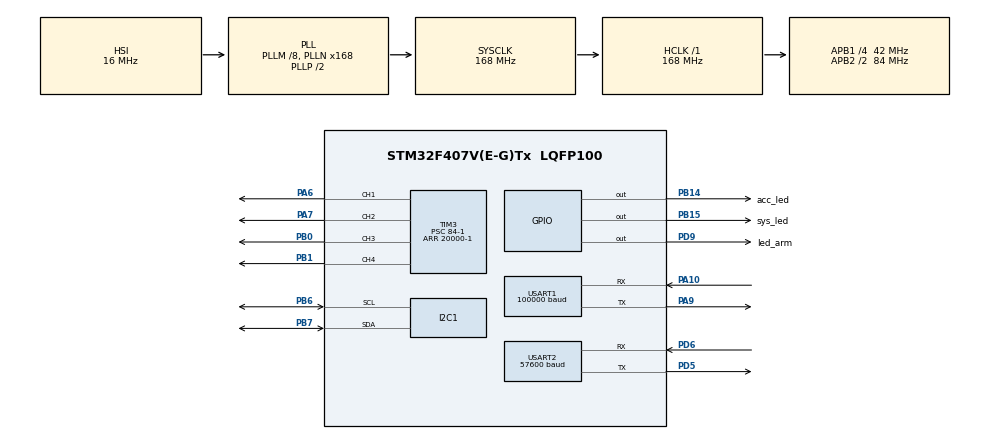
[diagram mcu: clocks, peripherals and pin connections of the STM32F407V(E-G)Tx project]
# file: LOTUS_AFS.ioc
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Dma.I2C1_RX.2.Direction=DMA_PERIPH_TO_MEMORY
Dma.I2C1_RX.2.FIFOMode=DMA_FIFOMODE_DISABLE
Dma.I2C1_RX.2.Instance=DMA1_Stream0
Dma.I2C1_RX.2.MemDataAlignment=DMA_MDATAALIGN_BYTE
Dma.I2C1_RX.2.MemInc=DMA_MINC_ENABLE
Dma.I2C1_RX.2.Mode=DMA_NORMAL
Dma.I2C1_RX.2.PeriphDataAlignment=DMA_PDATAALIGN_BYTE
Dma.I2C1_RX.2.PeriphInc=DMA_PINC_DISABLE
Dma.I2C1_RX.2.Priority=DMA_PRIORITY_VERY_HIGH
Dma.Request0=USART1_RX
Dma.Request1=USART2_RX
Dma.Request2=I2C1_RX
Dma.USART1_RX.0.Direction=DMA_PERIPH_TO_MEMORY
Dma.USART1_RX.0.FIFOMode=DMA_FIFOMODE_DISABLE
Dma.USART1_RX.0.Instance=DMA2_Stream2
Dma.USART1_RX.0.MemDataAlignment=DMA_MDATAALIGN_BYTE
Dma.USART1_RX.0.MemInc=DMA_MINC_ENABLE
Dma.USART1_RX.0.Mode=DMA_NORMAL
Dma.USART1_RX.0.PeriphDataAlignment=DMA_PDATAALIGN_BYTE
Dma.USART1_RX.0.PeriphInc=DMA_PINC_DISABLE
Dma.USART1_RX.0.Priority=DMA_PRIORITY_HIGH
Dma.USART2_RX.1.Direction=DMA_PERIPH_TO_MEMORY
Dma.USART2_RX.1.FIFOMode=DMA_FIFOMODE_DISABLE
Dma.USART2_RX.1.Instance=DMA1_Stream5
Dma.USART2_RX.1.MemDataAlignment=DMA_MDATAALIGN_BYTE
Dma.USART2_RX.1.MemInc=DMA_MINC_ENABLE
Dma.USART2_RX.1.Mode=DMA_CIRCULAR
Dma.USART2_RX.1.PeriphDataAlignment=DMA_PDATAALIGN_BYTE
Dma.USART2_RX.1.PeriphInc=DMA_PINC_DISABLE
Dma.USART2_RX.1.Priority=DMA_PRIORITY_HIGH
Mcu.Family=STM32F4
Mcu.Name=STM32F407V(E-G)Tx
Mcu.Package=LQFP100
NVIC.DMA1_Stream0_IRQn=true\:0\:0\:true\:false\:true\:false\:true
NVIC.DMA1_Stream5_IRQn=true\:3\:0\:true\:false\:true\:false\:true
NVIC.DMA2_Stream2_IRQn=true\:1\:0\:true\:false\:true\:false\:true
NVIC.I2C1_EV_IRQn=true\:0\:0\:false\:false\:true\:true\:true
NVIC.PriorityGroup=NVIC_PRIORITYGROUP_4
NVIC.TIM2_IRQn=true\:3\:0\:true\:false\:true\:true\:true
NVIC.TIM4_IRQn=true\:0\:0\:true\:false\:true\:true\:true
NVIC.TIM5_IRQn=true\:0\:0\:false\:false\:true\:true\:true
NVIC.TIM7_IRQn=true\:0\:0\:true\:false\:true\:true\:true
NVIC.TIM8_UP_TIM13_IRQn=true\:2\:0\:true\:false\:true\:true\:true
NVIC.USART2_IRQn=true\:0\:0\:false\:false\:true\:true\:true
PA10.Mode=Asynchronous
PA10.Signal=USART1_RX
PA13.Mode=Serial_Wire
PA13.Signal=SYS_JTMS-SWDIO
PA14.Mode=Serial_Wire
PA14.Signal=SYS_JTCK-SWCLK
PA6.Signal=S_TIM3_CH1
PA7.Signal=S_TIM3_CH2
PA9.Mode=Asynchronous
PA9.Signal=USART1_TX
PB0.Signal=S_TIM3_CH3
PB1.Signal=S_TIM3_CH4
PB14.GPIO_Label=acc_led
PB14.Signal=GPIO_Output
PB15.GPIO_Label=sys_led
PB15.Signal=GPIO_Output
PB6.Mode=I2C
PB6.Signal=I2C1_SCL
PB7.Mode=I2C
PB7.Signal=I2C1_SDA
PD5.Mode=Asynchronous
PD5.Signal=USART2_TX
PD6.Mode=Asynchronous
PD6.Signal=USART2_RX
PD9.GPIO_Label=led_arm
PD9.Signal=GPIO_Output
ProjectManager.HeapSize=0x200
ProjectManager.StackSize=0x400
ProjectManager.TargetToolchain=MDK-ARM V5.32
RCC.48MHZClocksFreq_Value=84000000
RCC.AHBFreq_Value=168000000
RCC.APB1CLKDivider=RCC_HCLK_DIV4
RCC.APB1Freq_Value=42000000
RCC.APB1TimFreq_Value=84000000
RCC.APB2CLKDivider=RCC_HCLK_DIV2
RCC.APB2Freq_Value=84000000
RCC.APB2TimFreq_Value=168000000
RCC.CortexFreq_Value=168000000
RCC.HCLKFreq_Value=168000000
RCC.HSE_VALUE=25000000
RCC.HSI_VALUE=16000000
RCC.LSE_VALUE=32768
RCC.PLLM=8
RCC.PLLN=168
RCC.SYSCLKFreq_VALUE=168000000
RCC.SYSCLKSource=RCC_SYSCLKSOURCE_PLLCLK
RCC.VCOOutputFreq_Value=336000000
SH.S_TIM3_CH1.0=TIM3_CH1,PWM Generation1 CH1
SH.S_TIM3_CH2.0=TIM3_CH2,PWM Generation2 CH2
SH.S_TIM3_CH3.0=TIM3_CH3,PWM Generation3 CH3
SH.S_TIM3_CH4.0=TIM3_CH4,PWM Generation4 CH4
TIM2.Period=500000-1
TIM2.Prescaler=84-1
TIM3.Channel-PWM\ Generation1\ CH1=TIM_CHANNEL_1
TIM3.Channel-PWM\ Generation2\ CH2=TIM_CHANNEL_2
TIM3.Channel-PWM\ Generation3\ CH3=TIM_CHANNEL_3
TIM3.Channel-PWM\ Generation4\ CH4=TIM_CHANNEL_4
TIM3.Period=20000-1
TIM3.Prescaler=84-1
TIM4.Period=10000-1
TIM4.Prescaler=84-1
TIM5.AutoReloadPreload=TIM_AUTORELOAD_PRELOAD_ENABLE
TIM5.Period=10000-1
TIM5.Prescaler=84-1
TIM7.AutoReloadPreload=TIM_AUTORELOAD_PRELOAD_ENABLE
TIM7.Period=10000-1
TIM7.Prescaler=84-1
TIM8.Period=8400
TIM8.Prescaler=20000
USART1.BaudRate=100000
USART1.Parity=PARITY_EVEN
USART1.StopBits=STOPBITS_2
USART1.VirtualMode=VM_ASYNC
USART2.BaudRate=57600
USART2.VirtualMode=VM_ASYNC
VP_TIM2_VS_ClockSourceINT.Mode=Internal
VP_TIM4_VS_ClockSourceINT.Mode=Internal
VP_TIM5_VS_ClockSourceINT.Mode=Internal
VP_TIM7_VS_ClockSourceINT.Mode=Enable_Timer
VP_TIM8_VS_ClockSourceINT.Mode=Internal
board=custom

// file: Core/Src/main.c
/* USER CODE BEGIN Header */
/**
  ******************************************************************************
  * LOTUS — STM32F407 tabanlı quadcopter uçuş kontrol yazılımı
  * TEKNOFEST 2022 Döner Kanat (HUMA 2021 çalışmasının devamı)
  *
  * Görev dağılımı (tüm zamanlayıcılar 1 MHz tabanlı):
  *   TIM4  100 Hz : SBUS kumanda çerçevesini oku, arm/disarm kontrolü
  *   TIM5  100 Hz : BNO055 IMU'dan Euler açılarını oku
  *   TIM7  100 Hz : Kumanda eşleme + PID + motor karıştırma + ESC çıkışı
  *   TIM8    1 Hz : Arm/disarm için anahtar tutma süresi sayacı
  *   TIM3   50 Hz : 4 kanal ESC PWM (1000–2000 µs)
  ******************************************************************************
  Olmasa da canin sagolsun,
	Ucarsan da hakkindir...

	Hakkinla uc,
	Serefinle Kazan!
  ******************************************************************************
  */
/* USER CODE END Header */
#include "main.h"
#include "dma.h"
#include "i2c.h"
#include "tim.h"
#include "usart.h"
#include "gpio.h"

/* USER CODE BEGIN Includes */
#include <stdbool.h>
#include <string.h>
#include <stdlib.h>
#include <stdio.h>
#include "stm32f4xx_it.h"
#include "HUMA_BNO055.h"
#include "Huma_Telemetry.h"
/* USER CODE END Includes */

/* USER CODE BEGIN PTD */
/* Roll ve pitch açı PID'leri için ortak durum yapısı */
typedef struct {
  float error;
  float errorsum;
  float d_error;
  float lasterror;
  float p_out;
  float i_out;
  float d_out;
  float output;
} aci_pid_t;
/* USER CODE END PTD */

/* USER CODE BEGIN PD */
/* Kontrol döngüsü periyodu (TIM7, 100 Hz) [s] */
#define KONTROL_DT              0.01

/* 1: PID katsayıları yer istasyonundan UART2 ile alınır (canlı ayar modu)
 * 0: Aşağıdaki sabit (uçuşta kullanılan) katsayılar kullanılır          */
#define PID_UART_AYAR           0

/* Uçuşta kullanılan PID katsayıları */
#define ROLL_PITCH_KP           1.65f
#define ROLL_PITCH_KI           0.35f
#define ROLL_PITCH_KD           0.5f
#define YAW_KP                  1.8f
#define YAW_KI                  0.2f
#define YAW_KD                  0.0f

/* Kumanda eşleme sınırları */
#define SBUS_MIN                306     /* SBUS ham kanal alt değeri */
#define SBUS_MAX                1693    /* SBUS ham kanal üst değeri */
#define ROLL_PITCH_MAKS_ACI     20      /* Hedef açı sınırı [derece]  */
#define YAW_MAKS_HIZ            180     /* Hedef yaw hızı [derece/s]  */
#define YAW_OLU_BOLGE           30      /* Yaw çubuğu ölü bölgesi     */

/* ESC / motor sınırları [µs] */
#define MOTOR_MIN               1200
#define MOTOR_MAX               1900
#define PID_AKTIF_GAZ           1250    /* Bu gazın altında PID sıfırlanır */

/* Arm / disarm */
#define ARM_SURESI              3       /* Anahtar tutma süresi [s] (+2 s güvenlik beklemesi) */
#define DISARM_SURESI           2       /* [s] */
#define ARM_ANAHTAR_ESIK        1600    /* Kanal 8 > eşik: arm isteği    */
#define DISARM_ANAHTAR_ESIK     400     /* Kanal 8 < eşik: disarm isteği */
#define ARM_MAKS_GAZ            1050    /* Arm için gaz çubuğu altta olmalı */

#define SBUS_CERCEVE_BOYU       22
#define SBUS_BASLIK             0x0F
/* USER CODE END PD */

/* USER CODE BEGIN PV */
/* --- Arm / disarm --- */
int  KumandaSayac;                       /* TIM8 ile saniye sayar */
bool arm = false, arm_fonksiyon_kontrol = false;

/* --- SBUS kumanda --- */
char rec_sbus_data[SBUS_CERCEVE_BOYU];
int  sbus_channel[12];
int  roll_map, pitch_map, throttle_map, yaw_map;

/* --- PID --- */
aci_pid_t roll_pid, pitch_pid;
float Yaw_p_out, Yaw_i_out, Yaw_d_out, yaw_last_error, yawError, Yaw_output;
float saniyedeki_yaw_degisim_acisi;
float onceki_yaw;
int   roll_pid_gelen, pitch_pid_gelen, yaw_pid_gelen;

/* --- Motorlar --- */
int motor1, motor2, motor3, motor4;

/* --- IMU --- */
float IMU_Roll, IMU_Pitch, IMU_Yaw, roll_offset, pitch_offset;

/* --- UART2 yer istasyonu (PID canlı ayar) --- */
float Gelen_Kp, Gelen_Ki, Gelen_Kd;
char  rx_buffer[50];
/* USER CODE END PV */

void SystemClock_Config(void);
/* USER CODE BEGIN PFP */
static int   HUMA_MAP(int gelen_veri, int giris_ilk, int giris_son, int cikis_ilk, int cikis_son);
static void  sbus_coz(void);
static void  huma_arm_kontrol(int arm_switchi);
static void  pwm_durdur(void);
static void  motor_sur(int m1, int m2, int m3, int m4, bool arm_check_val);
static int   motor_sinirla(int guc, int throttle);
static int   yaw_olu_bolge(int yaw_kumanda_degeri);
static float fix360derece(float deger);
static int   aci_pid_hesapla(aci_pid_t *pid, float kp, float ki, float kd,
                             float olculen_aci, int hedef_aci, int throttle);
static int   Yaw_pid_hesapla(float Yaw_kp, float Yaw_ki, float Yaw_kd,
                             float yaw_simdiki_aci, float yaw_onceki_aci,
                             float HedefYaw, float delta_t, int throttle);
static void  kontrol_dongusu(void);
/* USER CODE END PFP */

/* USER CODE BEGIN 0 */

/* Doğrusal eşleme (Arduino map() eşdeğeri) */
static int HUMA_MAP(int gelen_veri, int giris_ilk, int giris_son, int cikis_ilk, int cikis_son)
{
  return ((gelen_veri - giris_ilk) * (cikis_son - cikis_ilk) / (giris_son - giris_ilk)) + cikis_ilk;
}

/* ---------------------------------------------------------------------------
 * SBUS: 25 baytlık çerçevenin ilk 22 baytı DMA ile alınır,
 * 11 bitlik kanallar bit kaydırma ile çözülür.
 * ------------------------------------------------------------------------- */
static void sbus_coz(void)
{
  const char *d = rec_sbus_data;
  sbus_channel[0]  = ((d[1]      | d[2]  << 8)                ) & 0x07FF;
  sbus_channel[1]  = ((d[2]  >> 3 | d[3]  << 5)                ) & 0x07FF;
  sbus_channel[2]  = ((d[3]  >> 6 | d[4]  << 2 | d[5]  << 10)  ) & 0x07FF;
  sbus_channel[3]  = ((d[5]  >> 1 | d[6]  << 7)                ) & 0x07FF;
  sbus_channel[4]  = ((d[6]  >> 4 | d[7]  << 4)                ) & 0x07FF;
  sbus_channel[5]  = ((d[7]  >> 7 | d[8]  << 1 | d[9]  << 9)   ) & 0x07FF;
  sbus_channel[6]  = ((d[9]  >> 2 | d[10] << 6)                ) & 0x07FF;
  sbus_channel[7]  = ((d[10] >> 5 | d[11] << 3)                ) & 0x07FF;
  sbus_channel[8]  = ((d[12]      | d[13] << 8)                ) & 0x07FF;
  sbus_channel[9]  = ((d[13] >> 3 | d[14] << 5)                ) & 0x07FF;
  sbus_channel[10] = ((d[14] >> 6 | d[15] << 2 | d[16] << 10)  ) & 0x07FF;
  sbus_channel[11] = ((d[16] >> 1 | d[17] << 7)                ) & 0x07FF;
}

static void pwm_durdur(void)
{
  HAL_TIM_PWM_Stop(&htim3, TIM_CHANNEL_1);
  HAL_TIM_PWM_Stop(&htim3, TIM_CHANNEL_2);
  HAL_TIM_PWM_Stop(&htim3, TIM_CHANNEL_3);
  HAL_TIM_PWM_Stop(&htim3, TIM_CHANNEL_4);
}

/* ---------------------------------------------------------------------------
 * Arm / disarm
 *  - Arm   : kanal 8 yukarıda VE gaz altta, ARM_SURESI boyunca tutulmalı.
 *            Arm anında IMU açıları sıfır noktası (offset) olarak kaydedilir.
 *  - Disarm: kanal 8 aşağıda, DISARM_SURESI boyunca tutulmalı.
 *  Anahtar süre dolmadan bırakılırsa sayaç sıfırlanır.
 * ------------------------------------------------------------------------- */
static void huma_arm_kontrol(int arm_switchi)
{
  if (arm_fonksiyon_kontrol == false) {
    /* IMU kart üzerinde 90° döndürülmüş monte edildiği için eksenler yer değiştirir */
    roll_offset  = HUMA_Pitch_Get();
    pitch_offset = HUMA_Roll_Get();

    if (arm_switchi > ARM_ANAHTAR_ESIK && throttle_map < ARM_MAKS_GAZ) {
      HAL_TIM_Base_Start_IT(&htim8);
      if (KumandaSayac > ARM_SURESI) {
        HAL_GPIO_WritePin(GPIOD, led_arm_Pin, GPIO_PIN_SET);
        HAL_TIM_PWM_Start(&htim3, TIM_CHANNEL_1);
        HAL_TIM_PWM_Start(&htim3, TIM_CHANNEL_2);
        HAL_TIM_PWM_Start(&htim3, TIM_CHANNEL_3);
        HAL_TIM_PWM_Start(&htim3, TIM_CHANNEL_4);
        arm = true;
        arm_fonksiyon_kontrol = true;
        HAL_TIM_Base_Stop_IT(&htim8);
        KumandaSayac = 0;
      }
    } else {
      /* Arm tamamlanmadan anahtar bırakıldı */
      pwm_durdur();
      HAL_TIM_Base_Stop(&htim8);
      KumandaSayac = 0;
    }
  }

  if (arm_fonksiyon_kontrol == true) {
    if (arm_switchi < DISARM_ANAHTAR_ESIK) {
      HAL_TIM_Base_Start_IT(&htim8);
      if (KumandaSayac > DISARM_SURESI) {
        pwm_durdur();
        arm = false;
        arm_fonksiyon_kontrol = false;
        HAL_GPIO_WritePin(GPIOD, led_arm_Pin, GPIO_PIN_RESET);
        HAL_TIM_Base_Stop_IT(&htim8);
        KumandaSayac = 0;
      }
    } else {
      HAL_TIM_Base_Stop(&htim8);
      KumandaSayac = 0;
    }
  }
}

/* ESC çıkışları. PWM başlatma işlemi huma_arm_kontrol() içinde yapılır. */
static void motor_sur(int m1, int m2, int m3, int m4, bool arm_check_val)
{
  if (arm_check_val == false) {
    pwm_durdur();
  } else {
    __HAL_TIM_SET_COMPARE(&htim3, TIM_CHANNEL_1, m3);
    __HAL_TIM_SET_COMPARE(&htim3, TIM_CHANNEL_2, m4);
    __HAL_TIM_SET_COMPARE(&htim3, TIM_CHANNEL_3, m1);
    __HAL_TIM_SET_COMPARE(&htim3, TIM_CHANNEL_4, m2);
  }
}

/* Motor gücünü [MOTOR_MIN, MOTOR_MAX] aralığına sınırlar.
 * Gaz MOTOR_MIN'in altındaysa PID katkısı uygulanmaz, gaz doğrudan geçer. */
static int motor_sinirla(int guc, int throttle)
{
  if (guc > MOTOR_MAX) guc = MOTOR_MAX;
  if (guc < MOTOR_MIN) guc = MOTOR_MIN;
  if (throttle < MOTOR_MIN) guc = throttle;
  return guc;
}

/* Yaw çubuğu merkeze (1000) YAW_OLU_BOLGE kadar yakınsa merkez kabul edilir */
static int yaw_olu_bolge(int yaw_kumanda_degeri)
{
  if (abs(yaw_kumanda_degeri - 1000) < YAW_OLU_BOLGE) {
    return 1000;
  }
  return yaw_kumanda_degeri;
}

/* Açı farkını [-180, 180] aralığına sarar */
static float fix360derece(float deger)
{
  if (deger > 180)  return deger - 360;
  if (deger < -180) return deger + 360;
  return deger;
}

/* ---------------------------------------------------------------------------
 * Roll / pitch açı PID'i
 *  - İntegral yalnızca |hata| < 5° iken biriktirilir (anti-windup),
 *    hata büyüyünce sıfırlanır.
 *  - Gaz PID_AKTIF_GAZ altındayken tüm terimler sıfırlanır (yerde).
 *  - Çıkış ±kp*2*ROLL_PITCH_MAKS_ACI ile sınırlanır.
 * ------------------------------------------------------------------------- */
static int aci_pid_hesapla(aci_pid_t *pid, float kp, float ki, float kd,
                           float olculen_aci, int hedef_aci, int throttle)
{
  pid->error = hedef_aci - olculen_aci;
  pid->p_out = kp * pid->error;

  pid->d_error   = (pid->error - pid->lasterror) / KONTROL_DT;
  pid->lasterror = pid->error;
  pid->d_out     = kd * pid->d_error;

  if (pid->error > 5 || pid->error < -5) {
    pid->errorsum = 0;
    pid->i_out    = 0;
  } else if (pid->error < 5 && pid->error > -5) {
    pid->errorsum += pid->error * KONTROL_DT;
    pid->i_out     = ki * pid->errorsum;
  }

  if (throttle < PID_AKTIF_GAZ) {
    pid->errorsum = 0;
    pid->d_error  = 0;
    pid->i_out    = 0;
    pid->p_out    = 0;
    pid->d_out    = 0;
  }

  pid->output = pid->p_out + pid->i_out + pid->d_out;

  const float sinir = kp * ROLL_PITCH_MAKS_ACI * 2;
  if (pid->output >  sinir) pid->output =  sinir;
  if (pid->output < -sinir) pid->output = -sinir;

  return pid->output;
}

/* ---------------------------------------------------------------------------
 * Yaw hız PID'i: hedef, yaw açısının saniyedeki değişimi (derece/s)
 * ------------------------------------------------------------------------- */
static int Yaw_pid_hesapla(float Yaw_kp, float Yaw_ki, float Yaw_kd,
                           float yaw_simdiki_aci, float yaw_onceki_aci,
                           float HedefYaw, float delta_t, int throttle)
{
  float aci_degisimi = fix360derece(yaw_simdiki_aci - yaw_onceki_aci);
  saniyedeki_yaw_degisim_acisi = aci_degisimi / delta_t;
  yawError = HedefYaw - saniyedeki_yaw_degisim_acisi;

  if (yawError < -180) yawError = -180;
  if (yawError >  180) yawError =  180;

  Yaw_p_out  = yawError * Yaw_kp;
  Yaw_i_out += yawError * delta_t;
  Yaw_i_out  = Yaw_i_out * Yaw_ki;
  Yaw_d_out  = Yaw_kd * ((yawError - yaw_last_error) / delta_t);
  yaw_last_error = yawError;

  if (throttle < PID_AKTIF_GAZ) {
    yawError  = 0;
    Yaw_i_out = 0;
    Yaw_p_out = 0;
    Yaw_d_out = 0;
    saniyedeki_yaw_degisim_acisi = 0;
  }

  Yaw_output = Yaw_p_out + Yaw_i_out + Yaw_d_out;

  const float sinir = Yaw_kp * 45 * 2;
  if (Yaw_output >  sinir) Yaw_output =  sinir;
  if (Yaw_output < -sinir) Yaw_output = -sinir;

  return Yaw_output;
}

/* ---------------------------------------------------------------------------
 * 100 Hz ana kontrol döngüsü:
 * kumanda -> hedef açı/hız -> PID -> X-quad motor karıştırma -> ESC
 * ------------------------------------------------------------------------- */
static void kontrol_dongusu(void)
{
  roll_map     = HUMA_MAP(sbus_channel[0], SBUS_MAX, SBUS_MIN, ROLL_PITCH_MAKS_ACI, -ROLL_PITCH_MAKS_ACI);
  pitch_map    = HUMA_MAP(sbus_channel[1], SBUS_MIN, SBUS_MAX, ROLL_PITCH_MAKS_ACI, -ROLL_PITCH_MAKS_ACI);
  throttle_map = HUMA_MAP(sbus_channel[2], SBUS_MAX, SBUS_MIN, 1000, 2000);
  yaw_map      = HUMA_MAP(yaw_olu_bolge(sbus_channel[3]), SBUS_MIN, SBUS_MAX, -YAW_MAKS_HIZ, YAW_MAKS_HIZ);

#if PID_UART_AYAR
  const float rp_kp = Gelen_Kp, rp_ki = Gelen_Ki, rp_kd = Gelen_Kd;
#else
  const float rp_kp = ROLL_PITCH_KP, rp_ki = ROLL_PITCH_KI, rp_kd = ROLL_PITCH_KD;
#endif

  roll_pid_gelen  = aci_pid_hesapla(&roll_pid,  rp_kp, rp_ki, rp_kd, IMU_Roll,  roll_map,  throttle_map);
  pitch_pid_gelen = aci_pid_hesapla(&pitch_pid, rp_kp, rp_ki, rp_kd, IMU_Pitch, pitch_map, throttle_map);
  yaw_pid_gelen   = Yaw_pid_hesapla(YAW_KP, YAW_KI, YAW_KD, IMU_Yaw, onceki_yaw, yaw_map, KONTROL_DT, throttle_map);
  onceki_yaw = IMU_Yaw;

  /* X konfigürasyon motor karıştırma */
  const int r = roll_pid_gelen, p = pitch_pid_gelen, y = yaw_pid_gelen, t = throttle_map;
  motor1 = motor_sinirla(t + y + p + r, t);
  motor2 = motor_sinirla(t - y - p + r, t);
  motor3 = motor_sinirla(t + y - p - r, t);
  motor4 = motor_sinirla(t - y + p - r, t);

  motor_sur(motor1, motor2, motor3, motor4, arm);
}

/* USER CODE END 0 */

int main(void)
{

  /* MCU Configuration--------------------------------------------------------*/

  /* Reset of all peripherals, Initializes the Flash interface and the Systick. */
  HAL_Init();

  /* Configure the system clock */
  SystemClock_Config();

  /* Initialize all configured peripherals */
  MX_GPIO_Init();
  MX_DMA_Init();
  MX_I2C1_Init();
  MX_TIM2_Init();
  MX_TIM3_Init();
  MX_TIM4_Init();
  MX_TIM7_Init();
  MX_TIM8_Init();
  MX_USART1_UART_Init();
  MX_USART2_UART_Init();
  MX_TIM5_Init();
  /* USER CODE BEGIN 2 */
  HAL_TIM_Base_Start_IT(&htim4);   /* SBUS + arm kontrolü */
  HAL_TIM_Base_Start_IT(&htim7);   /* Kontrol döngüsü     */
  HAL_TIM_Base_Start_IT(&htim5);   /* IMU okuma           */
  HAL_Delay(1000);
  HUMA_BNO055_Baslat();
  HAL_UART_Receive_DMA(&huart2, (uint8_t *)rx_buffer, sizeof(rx_buffer));
  HAL_Delay(500);
  /* USER CODE END 2 */

  /* Infinite loop */
  while (1)
  {

    /* USER CODE BEGIN 3 */
    /* Tüm görevler zamanlayıcı kesmelerinde çalışır */
  }
  /* USER CODE END 3 */
}

void SystemClock_Config(void)
{
  RCC_OscInitTypeDef RCC_OscInitStruct = {0};
  RCC_ClkInitTypeDef RCC_ClkInitStruct = {0};

  /** Configure the main internal regulator output voltage
  */
  __HAL_RCC_PWR_CLK_ENABLE();
  __HAL_PWR_VOLTAGESCALING_CONFIG(PWR_REGULATOR_VOLTAGE_SCALE1);
  /** Initializes the RCC Oscillators according to the specified parameters
  * in the RCC_OscInitTypeDef structure.
  */
  RCC_OscInitStruct.OscillatorType = RCC_OSCILLATORTYPE_HSI;
  RCC_OscInitStruct.HSIState = RCC_HSI_ON;
  RCC_OscInitStruct.HSICalibrationValue = RCC_HSICALIBRATION_DEFAULT;
  RCC_OscInitStruct.PLL.PLLState = RCC_PLL_ON;
  RCC_OscInitStruct.PLL.PLLSource = RCC_PLLSOURCE_HSI;
  RCC_OscInitStruct.PLL.PLLM = 8;
  RCC_OscInitStruct.PLL.PLLN = 168;
  RCC_OscInitStruct.PLL.PLLP = RCC_PLLP_DIV2;
  RCC_OscInitStruct.PLL.PLLQ = 4;
  if (HAL_RCC_OscConfig(&RCC_OscInitStruct) != HAL_OK)
  {
    Error_Handler();
  }
  /** Initializes the CPU, AHB and APB buses clocks
  */
  RCC_ClkInitStruct.ClockType = RCC_CLOCKTYPE_HCLK|RCC_CLOCKTYPE_SYSCLK
                              |RCC_CLOCKTYPE_PCLK1|RCC_CLOCKTYPE_PCLK2;
  RCC_ClkInitStruct.SYSCLKSource = RCC_SYSCLKSOURCE_PLLCLK;
  RCC_ClkInitStruct.AHBCLKDivider = RCC_SYSCLK_DIV1;
  RCC_ClkInitStruct.APB1CLKDivider = RCC_HCLK_DIV4;
  RCC_ClkInitStruct.APB2CLKDivider = RCC_HCLK_DIV2;

  if (HAL_RCC_ClockConfig(&RCC_ClkInitStruct, FLASH_LATENCY_5) != HAL_OK)
  {
    Error_Handler();
  }
}

/* USER CODE BEGIN 4 */
/* Yer istasyonundan PID katsayısı paketi ("K..L..M..N") */
void HAL_UART_RxCpltCallback(UART_HandleTypeDef *huart)
{
  if (huart->Instance == USART2) {
    veri_ayir(rx_buffer);
    Gelen_Kp = Read_Kp();
    Gelen_Ki = Read_Ki();
    Gelen_Kd = Read_Kd();
  }
}

void HAL_TIM_PeriodElapsedCallback(TIM_HandleTypeDef *htim)
{
  if (htim->Instance == TIM4) {          /* 100 Hz: kumanda */
    HAL_UART_Receive_DMA(&huart1, (uint8_t *)rec_sbus_data, SBUS_CERCEVE_BOYU);
    if (rec_sbus_data[0] == SBUS_BASLIK) {
      sbus_coz();
      huma_arm_kontrol(sbus_channel[7]);
    }
  }

  if (htim->Instance == TIM5) {          /* 100 Hz: IMU */
    HUMA_BNO055_ALL_READ();
    /* IMU 90° döndürülmüş monte edildiği için roll/pitch eksenleri yer değiştirir */
    IMU_Roll  = HUMA_Pitch_Get() - roll_offset;
    IMU_Pitch = HUMA_Roll_Get()  - pitch_offset;
    IMU_Yaw   = HUMA_Yaw_Get();
  }

  if (htim->Instance == TIM7) {          /* 100 Hz: kontrol */
    kontrol_dongusu();
  }

  if (htim->Instance == TIM8) {          /* 1 Hz: arm/disarm süre sayacı */
    KumandaSayac += 1;
  }
}
/* USER CODE END 4 */

void Error_Handler(void)
{
  __disable_irq();
  while (1)
  {
  }
}

/************************ (C) COPYRIGHT STMicroelectronics *****END OF FILE****/
